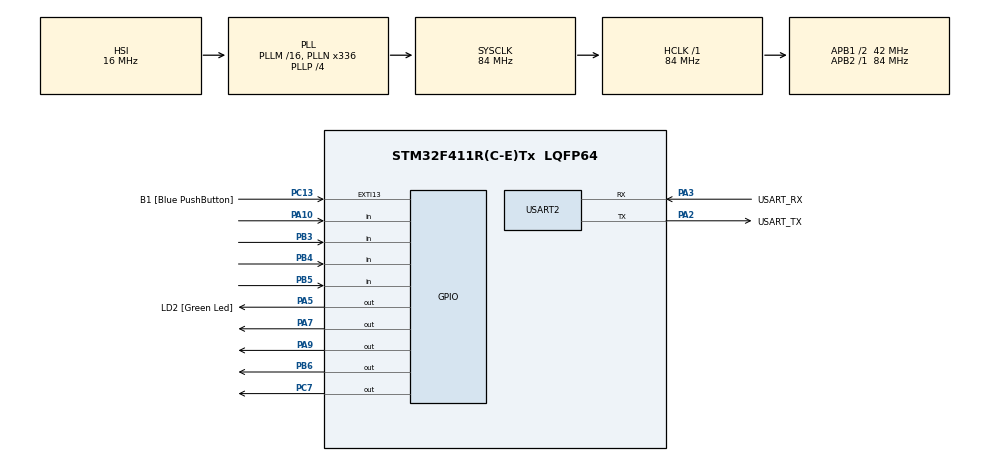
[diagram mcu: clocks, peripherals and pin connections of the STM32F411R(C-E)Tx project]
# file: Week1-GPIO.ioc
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Mcu.Family=STM32F4
Mcu.Name=STM32F411R(C-E)Tx
Mcu.Package=LQFP64
NVIC.PriorityGroup=NVIC_PRIORITYGROUP_0
PA10.Signal=GPIO_Input
PA13.GPIO_Label=TMS
PA13.Mode=Serial_Wire
PA13.Signal=SYS_JTMS-SWDIO
PA14.GPIO_Label=TCK
PA14.Mode=Serial_Wire
PA14.Signal=SYS_JTCK-SWCLK
PA2.GPIO_Label=USART_TX
PA2.Mode=Asynchronous
PA2.Signal=USART2_TX
PA3.GPIO_Label=USART_RX
PA3.Mode=Asynchronous
PA3.Signal=USART2_RX
PA5.GPIO_Label=LD2 [Green Led]
PA5.Signal=GPIO_Output
PA7.Signal=GPIO_Output
PA9.Signal=GPIO_Output
PB3.Signal=GPIO_Input
PB4.Signal=GPIO_Input
PB5.Signal=GPIO_Input
PB6.Signal=GPIO_Output
PC13-ANTI_TAMP.GPIO_Label=B1 [Blue PushButton]
PC13-ANTI_TAMP.GPIO_ModeDefaultEXTI=GPIO_MODE_IT_FALLING
PC13-ANTI_TAMP.Signal=GPXTI13
PC14-OSC32_IN.Mode=LSE-External-Oscillator
PC14-OSC32_IN.Signal=RCC_OSC32_IN
PC15-OSC32_OUT.Mode=LSE-External-Oscillator
PC15-OSC32_OUT.Signal=RCC_OSC32_OUT
PC7.Signal=GPIO_Output
PH0\ -\ OSC_IN.Mode=HSE-External-Clock-Source
PH0\ -\ OSC_IN.Signal=RCC_OSC_IN
PH1\ -\ OSC_OUT.Mode=HSE-External-Clock-Source
PH1\ -\ OSC_OUT.Signal=RCC_OSC_OUT
ProjectManager.HeapSize=0x200
ProjectManager.StackSize=0x400
ProjectManager.TargetToolchain=STM32CubeIDE
RCC.48MHZClocksFreq_Value=84000000
RCC.AHBFreq_Value=84000000
RCC.APB1CLKDivider=RCC_HCLK_DIV2
RCC.APB1Freq_Value=42000000
RCC.APB1TimFreq_Value=84000000
RCC.APB2Freq_Value=84000000
RCC.APB2TimFreq_Value=84000000
RCC.CortexFreq_Value=84000000
RCC.FLatency-AdvancedSettings=FLASH_LATENCY_2
RCC.HCLKFreq_Value=84000000
RCC.HSE_VALUE=8000000
RCC.HSI_VALUE=16000000
RCC.PLLN=336
RCC.PLLP=RCC_PLLP_DIV4
RCC.SYSCLKFreq_VALUE=84000000
RCC.SYSCLKSource=RCC_SYSCLKSOURCE_PLLCLK
RCC.VCOOutputFreq_Value=336000000
USART2.VirtualMode=VM_ASYNC
board=NUCLEO-F411RE

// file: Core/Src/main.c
/* USER CODE BEGIN Header */
/**
  ******************************************************************************
  * @file           : main.c
  * @brief          : Main program body
  ******************************************************************************
  * @attention
  *
  * <h2><center>&copy; Copyright (c) 2021 STMicroelectronics.
  * All rights reserved.</center></h2>
  *
  * This software component is licensed by ST under BSD 3-Clause license,
  * the "License"; You may not use this file except in compliance with the
  * License. You may obtain a copy of the License at:
  *                        opensource.org/licenses/BSD-3-Clause
  *
  ******************************************************************************
  */
/* USER CODE END Header */
#include "main.h"

UART_HandleTypeDef huart2;

void SystemClock_Config(void);
static void MX_GPIO_Init(void);
static void MX_USART2_UART_Init(void);

int main(void)
{

  /* MCU Configuration--------------------------------------------------------*/

  /* Reset of all peripherals, Initializes the Flash interface and the Systick. */
  HAL_Init();

  /* Configure the system clock */
  SystemClock_Config();

  /* Initialize all configured peripherals */
  MX_GPIO_Init();
  MX_USART2_UART_Init();
  /* USER CODE BEGIN 2 */

  ///Task 1
  GPIO_PinState SwitchState1[2]; //Now,Last
  uint16_t LED1_HalfPeriod = 1000; //0.5Hz
  uint32_t TimeStamp1 = 0;
  uint32_t TimeStamp7 = 0;
  ///Task 2
  GPIO_PinState SwitchState2[2];
  uint16_t LED2_Toggle = 0;
  uint32_t TimeStamp2 = 0;
  ///Task 3
  GPIO_PinState SwitchState3[2];
  uint16_t LED3_Toggle_Mode = 0;
  uint16_t LED3_Toggle_Mode2 = 0;
  uint32_t TimeStamp3 = 0;
  uint32_t TimeStamp4 = 0;
  ///Task 4
  GPIO_PinState SwitchState4[2];
  uint32_t TimeStamp5 = 0;
  uint32_t DutyCycle = 0;
  uint32_t TimeStamp6 = 0;
  uint16_t LED4_Toggle_Mode = 0;
  uint32_t SignalPeriod = 4;  //4ms 0 1 2 3 4

  /* USER CODE END 2 */

  /* Infinite loop */
  while (1)
  {

    /* USER CODE BEGIN 3 */

	  ///Task 1
	  if(HAL_GetTick() - TimeStamp1 >= 500)
	  {
		 SwitchState1[0] = HAL_GPIO_ReadPin(GPIOA, GPIO_PIN_10);
		 if(SwitchState1[1] == GPIO_PIN_SET && SwitchState1[0] == GPIO_PIN_RESET )
		 {
			TimeStamp7 = HAL_GetTick();
			if(LED1_HalfPeriod == 1000)
			{
				LED1_HalfPeriod = 500;
			}
			else if(LED1_HalfPeriod == 500)
			{
				LED1_HalfPeriod = 250;
			}
			else if(LED1_HalfPeriod == 250)
			{
				LED1_HalfPeriod = 167;
			}
			else if(LED1_HalfPeriod == 167)
			{
				LED1_HalfPeriod = 1000;
			}
			else   //Duck Error
			{
				LED1_HalfPeriod = 1000;
			}

		 }
		 SwitchState1[1] = SwitchState1[0];
	  }

	  ///Task 2
	  if(HAL_GetTick() - TimeStamp2 >= 500)
	  {
		 SwitchState2[0] = HAL_GPIO_ReadPin(GPIOB, GPIO_PIN_3);
		 if(SwitchState2[1] == GPIO_PIN_SET && SwitchState2[0] == GPIO_PIN_RESET )
		 {
			LED2_Toggle = ~(LED2_Toggle);
			TimeStamp2 = HAL_GetTick();
		 }

		 SwitchState2[1] = SwitchState2[0];
	  }

	  ///Task 3
	  if(HAL_GetTick() - TimeStamp3 >= 500)
	  {
		 SwitchState3[0] = HAL_GPIO_ReadPin(GPIOB, GPIO_PIN_5);
		 if(SwitchState3[1] == GPIO_PIN_SET && SwitchState3[0] == GPIO_PIN_RESET )
		 {
			 LED3_Toggle_Mode = ~(LED3_Toggle_Mode);
			 TimeStamp3 = HAL_GetTick();
			 TimeStamp4 = HAL_GetTick();
			 LED3_Toggle_Mode2 = 0;
		 }

		 SwitchState3[1] = SwitchState3[0];
	  }
	  ///Task 4
	  if(HAL_GetTick() - TimeStamp5 >= 500)
	  {
		 SwitchState4[0] = HAL_GPIO_ReadPin(GPIOB, GPIO_PIN_4);
		 if(SwitchState4[1] == GPIO_PIN_SET && SwitchState4[0] == GPIO_PIN_RESET )
		 {
			 if(DutyCycle == 0)
			{
				 DutyCycle = 25;
			}
			else if(DutyCycle == 25)
			{
				DutyCycle = 50;
			}
			else if(DutyCycle == 50)
			{
				DutyCycle = 75;
			}
			else if(DutyCycle == 75)
			{
				DutyCycle = 100;
			}
			else if(DutyCycle == 100)
			{
				DutyCycle = 0;
			}
			else  //Duck Error
			{
				DutyCycle = 100;
			}
			TimeStamp5 = HAL_GetTick();
			TimeStamp6 = HAL_GetTick();
			LED4_Toggle_Mode = 0;
		 }

		 SwitchState4[1] = SwitchState4[0];
	  }

	  //Run LED
	 if(HAL_GetTick() - TimeStamp7 >= LED1_HalfPeriod)
	 {
		 TimeStamp7 = HAL_GetTick();
		 if(HAL_GPIO_ReadPin(GPIOA, GPIO_PIN_9) == GPIO_PIN_SET)
		 {
			 HAL_GPIO_WritePin(GPIOA, GPIO_PIN_9, GPIO_PIN_RESET);
		 }
		 else
		 {
			 HAL_GPIO_WritePin(GPIOA, GPIO_PIN_9, GPIO_PIN_SET);
		 }
	 }

	 HAL_GPIO_WritePin(GPIOC, GPIO_PIN_7, LED2_Toggle);

	 if (LED3_Toggle_Mode == 0)
	 {
		 if (LED3_Toggle_Mode2 == 0)
		 {
			 HAL_GPIO_WritePin(GPIOB, GPIO_PIN_6, GPIO_PIN_RESET);
			 if (HAL_GetTick() - TimeStamp4 >= 500)
			 {
				 LED3_Toggle_Mode2 = 1;
				 TimeStamp4 = HAL_GetTick();
			 }
		 }
		 else
		 {
			 HAL_GPIO_WritePin(GPIOB, GPIO_PIN_6, GPIO_PIN_SET);
			 if (HAL_GetTick() - TimeStamp4 >= 1500)
			 {
				 LED3_Toggle_Mode2 = 0;
				 TimeStamp4 = HAL_GetTick();
			 }
		 }
	 }
	 else
	 {
		 if (LED3_Toggle_Mode2 == 0)
		 {
			 HAL_GPIO_WritePin(GPIOB, GPIO_PIN_6, GPIO_PIN_RESET);
			 if (HAL_GetTick() - TimeStamp4 >= 1500)
			 {
				 LED3_Toggle_Mode2 = 1;
				 TimeStamp4 = HAL_GetTick();
			 }
		 }
		 else
		 {
			 HAL_GPIO_WritePin(GPIOB, GPIO_PIN_6, GPIO_PIN_SET);
			 if (HAL_GetTick() - TimeStamp4 >= 500)
			 {
				 LED3_Toggle_Mode2 = 0;
				 TimeStamp4 = HAL_GetTick();
			 }
		 }
	 }

	 if (LED4_Toggle_Mode == 0)
	 {
		 HAL_GPIO_WritePin(GPIOA, GPIO_PIN_7, GPIO_PIN_RESET);
		 if (HAL_GetTick() - TimeStamp6 >= (DutyCycle*SignalPeriod)/100)
		 {
			 if (DutyCycle != 100)
			 {
				 LED4_Toggle_Mode = 1;
				 TimeStamp6 = HAL_GetTick();
			 }
		 }
	 }
	 else
	 {
		 HAL_GPIO_WritePin(GPIOA, GPIO_PIN_7, GPIO_PIN_SET);
		 if (HAL_GetTick() - TimeStamp6 >= ((100-DutyCycle)*SignalPeriod)/100)
		 {
			 if (DutyCycle != 0)
			 {
				 LED4_Toggle_Mode = 0;
				 TimeStamp6 = HAL_GetTick();
			 }
		 }
	 }

  }
  /* USER CODE END 3 */
}

void SystemClock_Config(void)
{
  RCC_OscInitTypeDef RCC_OscInitStruct = {0};
  RCC_ClkInitTypeDef RCC_ClkInitStruct = {0};

  /** Configure the main internal regulator output voltage
  */
  __HAL_RCC_PWR_CLK_ENABLE();
  __HAL_PWR_VOLTAGESCALING_CONFIG(PWR_REGULATOR_VOLTAGE_SCALE1);
  /** Initializes the RCC Oscillators according to the specified parameters
  * in the RCC_OscInitTypeDef structure.
  */
  RCC_OscInitStruct.OscillatorType = RCC_OSCILLATORTYPE_HSI;
  RCC_OscInitStruct.HSIState = RCC_HSI_ON;
  RCC_OscInitStruct.HSICalibrationValue = RCC_HSICALIBRATION_DEFAULT;
  RCC_OscInitStruct.PLL.PLLState = RCC_PLL_ON;
  RCC_OscInitStruct.PLL.PLLSource = RCC_PLLSOURCE_HSI;
  RCC_OscInitStruct.PLL.PLLM = 16;
  RCC_OscInitStruct.PLL.PLLN = 336;
  RCC_OscInitStruct.PLL.PLLP = RCC_PLLP_DIV4;
  RCC_OscInitStruct.PLL.PLLQ = 4;
  if (HAL_RCC_OscConfig(&RCC_OscInitStruct) != HAL_OK)
  {
    Error_Handler();
  }
  /** Initializes the CPU, AHB and APB buses clocks
  */
  RCC_ClkInitStruct.ClockType = RCC_CLOCKTYPE_HCLK|RCC_CLOCKTYPE_SYSCLK
                              |RCC_CLOCKTYPE_PCLK1|RCC_CLOCKTYPE_PCLK2;
  RCC_ClkInitStruct.SYSCLKSource = RCC_SYSCLKSOURCE_PLLCLK;
  RCC_ClkInitStruct.AHBCLKDivider = RCC_SYSCLK_DIV1;
  RCC_ClkInitStruct.APB1CLKDivider = RCC_HCLK_DIV2;
  RCC_ClkInitStruct.APB2CLKDivider = RCC_HCLK_DIV1;

  if (HAL_RCC_ClockConfig(&RCC_ClkInitStruct, FLASH_LATENCY_2) != HAL_OK)
  {
    Error_Handler();
  }
}

static void MX_USART2_UART_Init(void)
{

  huart2.Instance = USART2;
  huart2.Init.BaudRate = 115200;
  huart2.Init.WordLength = UART_WORDLENGTH_8B;
  huart2.Init.StopBits = UART_STOPBITS_1;
  huart2.Init.Parity = UART_PARITY_NONE;
  huart2.Init.Mode = UART_MODE_TX_RX;
  huart2.Init.HwFlowCtl = UART_HWCONTROL_NONE;
  huart2.Init.OverSampling = UART_OVERSAMPLING_16;
  if (HAL_UART_Init(&huart2) != HAL_OK)
  {
    Error_Handler();
  }

}

static void MX_GPIO_Init(void)
{
  GPIO_InitTypeDef GPIO_InitStruct = {0};

  /* GPIO Ports Clock Enable */
  __HAL_RCC_GPIOC_CLK_ENABLE();
  __HAL_RCC_GPIOH_CLK_ENABLE();
  __HAL_RCC_GPIOA_CLK_ENABLE();
  __HAL_RCC_GPIOB_CLK_ENABLE();

  /*Configure GPIO pin Output Level */
  HAL_GPIO_WritePin(GPIOA, LD2_Pin|GPIO_PIN_7|GPIO_PIN_9, GPIO_PIN_RESET);

  /*Configure GPIO pin Output Level */
  HAL_GPIO_WritePin(GPIOC, GPIO_PIN_7, GPIO_PIN_RESET);

  /*Configure GPIO pin Output Level */
  HAL_GPIO_WritePin(GPIOB, GPIO_PIN_6, GPIO_PIN_RESET);

  /*Configure GPIO pin : B1_Pin */
  GPIO_InitStruct.Pin = B1_Pin;
  GPIO_InitStruct.Mode = GPIO_MODE_IT_FALLING;
  GPIO_InitStruct.Pull = GPIO_NOPULL;
  HAL_GPIO_Init(B1_GPIO_Port, &GPIO_InitStruct);

  /*Configure GPIO pins : LD2_Pin PA7 PA9 */
  GPIO_InitStruct.Pin = LD2_Pin|GPIO_PIN_7|GPIO_PIN_9;
  GPIO_InitStruct.Mode = GPIO_MODE_OUTPUT_PP;
  GPIO_InitStruct.Pull = GPIO_NOPULL;
  GPIO_InitStruct.Speed = GPIO_SPEED_FREQ_LOW;
  HAL_GPIO_Init(GPIOA, &GPIO_InitStruct);

  /*Configure GPIO pin : PC7 */
  GPIO_InitStruct.Pin = GPIO_PIN_7;
  GPIO_InitStruct.Mode = GPIO_MODE_OUTPUT_PP;
  GPIO_InitStruct.Pull = GPIO_NOPULL;
  GPIO_InitStruct.Speed = GPIO_SPEED_FREQ_LOW;
  HAL_GPIO_Init(GPIOC, &GPIO_InitStruct);

  /*Configure GPIO pin : PA10 */
  GPIO_InitStruct.Pin = GPIO_PIN_10;
  GPIO_InitStruct.Mode = GPIO_MODE_INPUT;
  GPIO_InitStruct.Pull = GPIO_NOPULL;
  HAL_GPIO_Init(GPIOA, &GPIO_InitStruct);

  /*Configure GPIO pins : PB3 PB4 PB5 */
  GPIO_InitStruct.Pin = GPIO_PIN_3|GPIO_PIN_4|GPIO_PIN_5;
  GPIO_InitStruct.Mode = GPIO_MODE_INPUT;
  GPIO_InitStruct.Pull = GPIO_NOPULL;
  HAL_GPIO_Init(GPIOB, &GPIO_InitStruct);

  /*Configure GPIO pin : PB6 */
  GPIO_InitStruct.Pin = GPIO_PIN_6;
  GPIO_InitStruct.Mode = GPIO_MODE_OUTPUT_PP;
  GPIO_InitStruct.Pull = GPIO_NOPULL;
  GPIO_InitStruct.Speed = GPIO_SPEED_FREQ_LOW;
  HAL_GPIO_Init(GPIOB, &GPIO_InitStruct);

}

void Error_Handler(void)
{
  __disable_irq();
  while (1)
  {
  }
}

/************************ (C) COPYRIGHT STMicroelectronics *****END OF FILE****/
